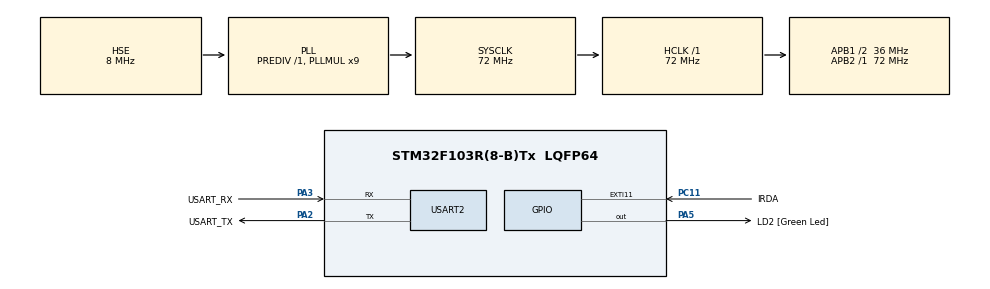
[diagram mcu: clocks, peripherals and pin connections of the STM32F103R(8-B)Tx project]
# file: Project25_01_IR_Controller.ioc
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Mcu.Family=STM32F1
Mcu.Name=STM32F103R(8-B)Tx
Mcu.Package=LQFP64
NVIC.EXTI15_10_IRQn=true\:15\:0\:true\:false\:true\:true\:true\:true
NVIC.PriorityGroup=NVIC_PRIORITYGROUP_4
PA13.GPIO_Label=TMS
PA13.Mode=Serial_Wire
PA13.Signal=SYS_JTMS-SWDIO
PA14.GPIO_Label=TCK
PA14.Mode=Serial_Wire
PA14.Signal=SYS_JTCK-SWCLK
PA2.GPIO_Label=USART_TX
PA2.GPIO_Mode=GPIO_MODE_AF_PP
PA2.GPIO_PuPd=GPIO_NOPULL
PA2.GPIO_Speed=GPIO_SPEED_FREQ_LOW
PA2.Mode=Asynchronous
PA2.Signal=USART2_TX
PA3.GPIO_Label=USART_RX
PA3.GPIO_Mode=GPIO_MODE_AF_PP
PA3.GPIO_PuPd=GPIO_NOPULL
PA3.GPIO_Speed=GPIO_SPEED_FREQ_LOW
PA3.Mode=Asynchronous
PA3.Signal=USART2_RX
PA5.GPIO_Label=LD2 [Green Led]
PA5.GPIO_ModeDefaultOutputPP=GPIO_MODE_OUTPUT_PP
PA5.GPIO_PuPd=GPIO_NOPULL
PA5.GPIO_Speed=GPIO_SPEED_FREQ_LOW
PA5.Signal=GPIO_Output
PC11.GPIO_Label=IRDA
PC11.GPIO_ModeDefaultEXTI=GPIO_MODE_IT_FALLING
PC11.GPIO_PuPd=GPIO_PULLUP
PC11.Signal=GPXTI11
PC14-OSC32_IN.Mode=LSE-External-Oscillator
PC14-OSC32_IN.Signal=RCC_OSC32_IN
PC15-OSC32_OUT.Mode=LSE-External-Oscillator
PC15-OSC32_OUT.Signal=RCC_OSC32_OUT
PD0-OSC_IN.Mode=HSE-External-Clock-Source
PD0-OSC_IN.Signal=RCC_OSC_IN
PD1-OSC_OUT.Mode=HSE-External-Clock-Source
PD1-OSC_OUT.Signal=RCC_OSC_OUT
ProjectManager.HeapSize=0x200
ProjectManager.StackSize=0x400
ProjectManager.TargetToolchain=STM32CubeIDE
RCC.AHBFreq_Value=72000000
RCC.APB1CLKDivider=RCC_HCLK_DIV2
RCC.APB1Freq_Value=36000000
RCC.APB1TimFreq_Value=72000000
RCC.APB2Freq_Value=72000000
RCC.APB2TimFreq_Value=72000000
RCC.HCLKFreq_Value=72000000
RCC.PLLMUL=RCC_PLL_MUL9
RCC.PLLSourceVirtual=RCC_PLLSOURCE_HSE
RCC.RTCClockSelection=RCC_RTCCLKSOURCE_LSE
RCC.SYSCLKFreq_VALUE=72000000
RCC.SYSCLKSource=RCC_SYSCLKSOURCE_PLLCLK
RCC.USBFreq_Value=72000000
USART2.VirtualMode=VM_ASYNC
board=NUCLEO-F103RB

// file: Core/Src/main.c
/* USER CODE BEGIN Header */
/**
  ******************************************************************************
  * @file           : main.c
  * @brief          : Main program body
  ******************************************************************************
  * @attention
  *
  * Copyright (c) 2025 STMicroelectronics.
  * All rights reserved.
  *
  * This software is licensed under terms that can be found in the LICENSE file
  * in the root directory of this software component.
  * If no LICENSE file comes with this software, it is provided AS-IS.
  *
  ******************************************************************************
  */
/* USER CODE END Header */
#include "main.h"

/* USER CODE BEGIN Includes */
#include "stdio.h"
//#include "stm32f1xx_it.h"
/* USER CODE END Includes */

/* USER CODE BEGIN PD */
#define LED1_TOGGLE					HAL_GPIO_TogglePin(LD2_GPIO_Port, LD2_Pin)
#define IrDa_DATA_IN()	  	HAL_GPIO_ReadPin(IRDA_GPIO_Port, IRDA_Pin)
#define IRDA_ID 						0
#define IRDA_EXTI_LINE			IRDA_Pin

/* USER CODE END PD */

UART_HandleTypeDef huart2;

/* USER CODE BEGIN PV */
uint32_t 	frame_data = 0;    /* 一帧数据缓存 */
uint8_t  	frame_cnt = 0;
uint8_t  	frame_flag = 0;    /* 一帧数据接收完成标志 */
uint8_t 	isr_cnt;  				 /* 用于计算进了多少次中断 */
uint8_t 	fac_us=0;
uint16_t 	fac_ms=0;
static __IO uint32_t TimingDelay;

/* USER CODE END PV */

void SystemClock_Config(void);
static void MX_GPIO_Init(void);
static void MX_USART2_UART_Init(void);

/* USER CODE BEGIN PFP */
void IRDA_EXTI_IRQHANDLER_FUN(void);
int fputc(int ch, FILE *f);
int fgetc(FILE *f);
uint8_t Get_Pulse_Time(void);
uint8_t IrDa_Process(void);
void Delay_us(uint32_t nus);
void TimingDelay_Decrement(void);
void SysTick_Init(void);

/* USER CODE END PFP */

int main(void)
{

  /* USER CODE BEGIN 1 */
	uint8_t key_val;
  /* USER CODE END 1 */

  /* MCU Configuration--------------------------------------------------------*/

  /* Reset of all peripherals, Initializes the Flash interface and the Systick. */
  HAL_Init();

  /* Configure the system clock */
  SystemClock_Config();

  /* Initialize all configured peripherals */
  MX_GPIO_Init();
  MX_USART2_UART_Init();

  /* USER CODE BEGIN 2 */

	/* 配置SysTick 为10us中断一次 */
	SysTick_Init();

  /* 重新配置SysTick的中断优先级为最高，要不然SysTick延时中断抢占不了IO EXTI中断
   * 因为SysTick初始化时默认配置的优先级是最低的
   * 或者当你用其他定时器做延时的时候，要配置定时器的优先级高于IO EXTI中断的优先级
   */
  NVIC_SetPriority(SysTick_IRQn, 0);

	printf("\r\n Hello \r\n");

  /* USER CODE END 2 */

  /* Infinite loop */
  while (1)
  {

    /* USER CODE BEGIN 3 */
		if( frame_flag == 1 ) /* 一帧红外数据接收完成 */
		{
			key_val = IrDa_Process();
			printf("\r\n key_val = %d \r\n", key_val);
			printf("\r\n button pressed: frame_cnt = %d \r\n", frame_cnt);
			printf("\r\n IT triggered: isr_cnt = %d \r\n", isr_cnt);

			/* 不同的遥控器面板对应不同的键值，需要实际测量 */
			switch( key_val )
			{
				case 0:
				LED1_TOGGLE;
					printf("\r\n key_val = %d \r\n", key_val);
					printf("\r\n Error \r\n");
				break;

				case 162:
				LED1_TOGGLE;
					printf("\r\n key_val = %d \r\n", key_val);
					printf("\r\n POWER \r\n");
				break;

				case 226:
					LED1_TOGGLE;
					printf("\r\n key_val = %d \r\n", key_val);
					printf("\r\n MENU \r\n");
				break;

				case 34:
					LED1_TOGGLE;
					printf("\r\n key_val = %d \r\n", key_val);
					printf("\r\n TEST \r\n");
				break;

				case 2:
					LED1_TOGGLE;
					printf("\r\n key_val = %d \r\n", key_val);
					printf("\r\n + \r\n");
				break;

				case 194:
					LED1_TOGGLE;
					printf("\r\n key_val = %d \r\n", key_val);
					printf("\r\n RETURN \r\n");
				break;

				case 224:
					LED1_TOGGLE;
					printf("\r\n key_val = %d \r\n", key_val);
					printf("\r\n |<< \r\n");
				break;

				case 168:
					LED1_TOGGLE;
					printf("\r\n key_val = %d \r\n", key_val);
					printf("\r\n > \r\n");
				break;

				case 144:
					LED1_TOGGLE;
					printf("\r\n key_val = %d \r\n", key_val);
					printf("\r\n >>| \r\n");
				break;

				case 104:
					LED1_TOGGLE;
					printf("\r\n key_val = %d \r\n", key_val);
					printf("\r\n 0 \r\n");
				break;

				case 152:
					LED1_TOGGLE;
					printf("\r\n key_val = %d \r\n", key_val);
					printf("\r\n - \r\n");
				break;

				case 176:
					LED1_TOGGLE;
					printf("\r\n key_val = %d \r\n", key_val);
					printf("\r\n C \r\n");
				break;

				case 48:
					LED1_TOGGLE;
					printf("\r\n key_val = %d \r\n", key_val);
					printf("\r\n 1 \r\n");
				break;

				case 24:
					LED1_TOGGLE;
					printf("\r\n key_val = %d \r\n", key_val);
					printf("\r\n 2 \r\n");
				break;

				case 122:
					LED1_TOGGLE;
					printf("\r\n key_val = %d \r\n", key_val);
					printf("\r\n 3 \r\n");
				break;

				case 16:
					LED1_TOGGLE;
					printf("\r\n key_val = %d \r\n", key_val);
					printf("\r\n 4 \r\n");
				break;

				case 56:
					LED1_TOGGLE;
					printf("\r\n key_val = %d \r\n", key_val);
					printf("\r\n 5 \r\n");
				break;

				case 90:
					LED1_TOGGLE;
					printf("\r\n key_val = %d \r\n", key_val);
					printf("\r\n 6 \r\n");
				break;

					case 66:
					LED1_TOGGLE;
					printf("\r\n key_val = %d \r\n", key_val);
					printf("\r\n 7 \r\n");
				break;

				case 74:
					LED1_TOGGLE;
					printf("\r\n key_val = %d \r\n", key_val);
					printf("\r\n 8 \r\n");
				break;

				case 82:
					LED1_TOGGLE;
					printf("\r\n key_val = %d \r\n", key_val);
					printf("\r\n 9 \r\n");
				break;

				default:
				break;
			}
		}
  }
  /* USER CODE END 3 */
}

void SystemClock_Config(void)
{
  RCC_OscInitTypeDef RCC_OscInitStruct = {0};
  RCC_ClkInitTypeDef RCC_ClkInitStruct = {0};

  /** Initializes the RCC Oscillators according to the specified parameters
  * in the RCC_OscInitTypeDef structure.
  */
  RCC_OscInitStruct.OscillatorType = RCC_OSCILLATORTYPE_HSE;
  RCC_OscInitStruct.HSEState = RCC_HSE_BYPASS;
  RCC_OscInitStruct.HSEPredivValue = RCC_HSE_PREDIV_DIV1;
  RCC_OscInitStruct.HSIState = RCC_HSI_ON;
  RCC_OscInitStruct.PLL.PLLState = RCC_PLL_ON;
  RCC_OscInitStruct.PLL.PLLSource = RCC_PLLSOURCE_HSE;
  RCC_OscInitStruct.PLL.PLLMUL = RCC_PLL_MUL9;
  if (HAL_RCC_OscConfig(&RCC_OscInitStruct) != HAL_OK)
  {
    Error_Handler();
  }

  /** Initializes the CPU, AHB and APB buses clocks
  */
  RCC_ClkInitStruct.ClockType = RCC_CLOCKTYPE_HCLK|RCC_CLOCKTYPE_SYSCLK
                              |RCC_CLOCKTYPE_PCLK1|RCC_CLOCKTYPE_PCLK2;
  RCC_ClkInitStruct.SYSCLKSource = RCC_SYSCLKSOURCE_PLLCLK;
  RCC_ClkInitStruct.AHBCLKDivider = RCC_SYSCLK_DIV1;
  RCC_ClkInitStruct.APB1CLKDivider = RCC_HCLK_DIV2;
  RCC_ClkInitStruct.APB2CLKDivider = RCC_HCLK_DIV1;

  if (HAL_RCC_ClockConfig(&RCC_ClkInitStruct, FLASH_LATENCY_2) != HAL_OK)
  {
    Error_Handler();
  }
}

static void MX_USART2_UART_Init(void)
{

  huart2.Instance = USART2;
  huart2.Init.BaudRate = 115200;
  huart2.Init.WordLength = UART_WORDLENGTH_8B;
  huart2.Init.StopBits = UART_STOPBITS_1;
  huart2.Init.Parity = UART_PARITY_NONE;
  huart2.Init.Mode = UART_MODE_TX_RX;
  huart2.Init.HwFlowCtl = UART_HWCONTROL_NONE;
  huart2.Init.OverSampling = UART_OVERSAMPLING_16;
  if (HAL_UART_Init(&huart2) != HAL_OK)
  {
    Error_Handler();
  }

}

static void MX_GPIO_Init(void)
{
  GPIO_InitTypeDef GPIO_InitStruct = {0};

  /* GPIO Ports Clock Enable */
  __HAL_RCC_GPIOC_CLK_ENABLE();
  __HAL_RCC_GPIOD_CLK_ENABLE();
  __HAL_RCC_GPIOA_CLK_ENABLE();

  /*Configure GPIO pin Output Level */
  HAL_GPIO_WritePin(LD2_GPIO_Port, LD2_Pin, GPIO_PIN_RESET);

  /*Configure GPIO pin : LD2_Pin */
  GPIO_InitStruct.Pin = LD2_Pin;
  GPIO_InitStruct.Mode = GPIO_MODE_OUTPUT_PP;
  GPIO_InitStruct.Pull = GPIO_NOPULL;
  GPIO_InitStruct.Speed = GPIO_SPEED_FREQ_LOW;
  HAL_GPIO_Init(LD2_GPIO_Port, &GPIO_InitStruct);

  /*Configure GPIO pin : IRDA_Pin */
  GPIO_InitStruct.Pin = IRDA_Pin;
  GPIO_InitStruct.Mode = GPIO_MODE_IT_FALLING;
  GPIO_InitStruct.Pull = GPIO_PULLUP;
  HAL_GPIO_Init(IRDA_GPIO_Port, &GPIO_InitStruct);

  /* EXTI interrupt init*/
  HAL_NVIC_SetPriority(EXTI15_10_IRQn, 15, 0);
  HAL_NVIC_EnableIRQ(EXTI15_10_IRQn);

}

/* USER CODE BEGIN 4 */

void IRDA_EXTI_IRQHANDLER_FUN(void)
{
	uint8_t pulse_time = 0;
  uint8_t leader_code_flag = 0; /* 引导码标志位，当引导码出现时，表示一帧数据开始 */
  uint8_t irda_data = 0;        /* 数据暂存位 */

  if(__HAL_GPIO_EXTI_GET_IT(IRDA_EXTI_LINE) != GPIO_PIN_RESET) /* 确保是否产生了EXTI Line中断 */
	{
    while(1)
    {
      if( IrDa_DATA_IN() == GPIO_PIN_SET )        /* 只测量高电平的时间 */
      {
        pulse_time = Get_Pulse_Time();

        /* >=5ms 不是有用信号 当出现干扰或者连发码时，也会break跳出while(1)循环 */
        if( pulse_time >= 250 )
        {
          break; /* 跳出while(1)循环 */
        }

        if(pulse_time >= 200 && pulse_time < 250)         /* 获得前导位 4ms~4.5ms */
        {
          leader_code_flag = 1;
        }
        else if(pulse_time >= 10 && pulse_time < 50)      /* 0.56ms: 0.2ms~1ms */
        {
          irda_data = 0;
        }
        else if(pulse_time >= 50 && pulse_time < 100)     /* 1.68ms：1ms~2ms */
        {
          irda_data =1 ;
        }
        else if(pulse_time >= 100 && pulse_time <= 200 ) /* 2.1ms：2ms~4ms */
        {/* 连发码，在第二次中断出现 */
          frame_flag = 1;               /* 一帧数据接收完成 */
          frame_cnt++;                  /* 按键次数加1 */
          isr_cnt ++;                   /* 进中断一次加1 */
          break;                        /* 跳出while(1)循环 */
        }

        if( leader_code_flag == 1 )
        {/* 在第一次中断中完成 */
          frame_data <<= 1;
          frame_data += irda_data;
          frame_cnt = 0;
          isr_cnt = 1;
        }
      }
    }
    /* 1. Please note you need to comment the interrupt clear flag
     * (__HAL_GPIO_EXTI_CLEAR_IT(GPIO_Pin);) under function
     *  "void HAL_GPIO_EXTI_IRQHandler(uint16_t GPIO_Pin)"
     *  at "stm32f1xx_hal_gpio.c" after re-configuration of .ioc file
     * 2. Please also note you need to comment "HAL_IncTick();" under
     * function "void SysTick_Handler(void)" at "stm32f1xx_it.c"
     * after re-configuration of .ioc file
     */
    __HAL_GPIO_EXTI_CLEAR_IT(IRDA_EXTI_LINE);
	}
}

/* Get the time for HIGH level */
uint8_t Get_Pulse_Time(void)
{
  uint8_t time = 0;
  while( IrDa_DATA_IN() )
  {
    time ++;
    Delay_us(2);     	// Delay 20us
    if(time == 250)		// Waiting time over 5ms
      return time;
  }
  return time;
}

/*
 * 帧数据有4个字节，第一个字节是遥控的ID，第二个字节是第一个字节的反码
 * 第三个数据是遥控的真正的键值，第四个字节是第三个字节的反码
 */
uint8_t IrDa_Process(void)
{
  uint8_t first_byte, sec_byte, tir_byte, fou_byte;

  first_byte = frame_data >> 24;
  sec_byte = (frame_data>>16) & 0xff;
  tir_byte = frame_data >> 8;
  fou_byte = frame_data;

  /* 记得清标志位 */
  frame_flag = 0;

  if( (first_byte==(uint8_t)~sec_byte) && (first_byte==IRDA_ID) )
  {
    if( tir_byte == (uint8_t)~fou_byte )
      return tir_byte;
  }

  return 0;   /* 错误返回 */
}

/**
  * @brief  启动系统滴答定时器 SysTick
  * @param  无
  * @retval 无
  */
void SysTick_Init(void)
{
	/* SystemFrequency / 1000    1ms中断一次
	 * SystemFrequency / 100000	 10us中断一次
	 * SystemFrequency / 1000000 1us中断一次
	 */
//	if (SysTick_Config(SystemFrequency / 100000))	// ST3.0.0库版本
	if (SysTick_Config(SystemCoreClock / 100000))	// ST3.5.0库版本
	{
		/* Capture error */
		while (1);
	}
		// 关闭滴答定时器
	SysTick->CTRL &= ~ SysTick_CTRL_ENABLE_Msk;
}

/**
  * @brief   us延时程序,10us为一个单位
  * @param
  *		@arg nTime: Delay_us( 1 ) 则实现的延时为 1 * 10us = 10us
  * @retval  无
  */
void Delay_us(__IO uint32_t nTime)
{
	TimingDelay = nTime;

	// 使能滴答定时器
	SysTick->CTRL |=  SysTick_CTRL_ENABLE_Msk;

	while(TimingDelay != 0);
}

/**
  * @brief  获取节拍程序
  * @param  无
  * @retval 无
  * @attention  在 SysTick 中断函数 SysTick_Handler()调用
  */
void TimingDelay_Decrement(void)
{
	if (TimingDelay != 0x00)
	{
		TimingDelay--;
	}
}

void HAL_GPIO_EXTI_Callback(uint16_t GPIO_Pin)
{
	IRDA_EXTI_IRQHANDLER_FUN();
}

#ifdef __GNUC__
#define PUTCHAR_PROTOTYPE int __io_putchar(int ch)
#else
#define PUTCHAR_PROTOTYPE int fputc(int ch. FILE *f)
#endif /* __GNUC__ */

//重定向printf函数
PUTCHAR_PROTOTYPE
{
	HAL_UART_Transmit(&huart2, (uint8_t *)&ch, 1, 0xFFFF);//输出指向串口USART1
	return ch;
}

/* USER CODE END 4 */

void Error_Handler(void)
{
  __disable_irq();
  while (1)
  {
  }
}
